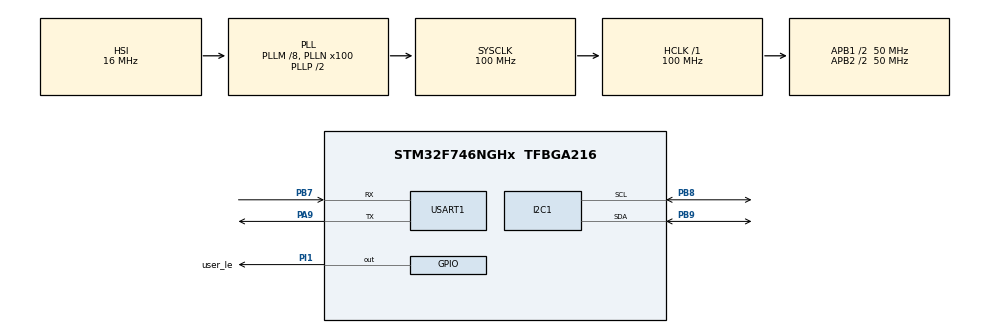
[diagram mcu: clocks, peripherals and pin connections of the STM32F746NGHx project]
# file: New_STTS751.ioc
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I2C1.Timing=0x00C0EAFF
Mcu.Family=STM32F7
Mcu.Name=STM32F746NGHx
Mcu.Package=TFBGA216
NVIC.PriorityGroup=NVIC_PRIORITYGROUP_4
PA13.Mode=Serial_Wire
PA13.Signal=SYS_JTMS-SWDIO
PA14.Mode=Serial_Wire
PA14.Signal=SYS_JTCK-SWCLK
PA9.Mode=Asynchronous
PA9.Signal=USART1_TX
PB7.Mode=Asynchronous
PB7.Signal=USART1_RX
PB8.Mode=I2C
PB8.Signal=I2C1_SCL
PB9.Mode=I2C
PB9.Signal=I2C1_SDA
PH0/OSC_IN.Mode=HSE-External-Oscillator
PH0/OSC_IN.Signal=RCC_OSC_IN
PH1/OSC_OUT.Mode=HSE-External-Oscillator
PH1/OSC_OUT.Signal=RCC_OSC_OUT
PI1.GPIO_Label=user_le
PI1.Signal=GPIO_Output
ProjectManager.HeapSize=0x200
ProjectManager.StackSize=0x400
ProjectManager.TargetToolchain=STM32CubeIDE
RCC.AHBFreq_Value=100000000
RCC.APB1CLKDivider=RCC_HCLK_DIV2
RCC.APB1Freq_Value=50000000
RCC.APB1TimFreq_Value=100000000
RCC.APB2CLKDivider=RCC_HCLK_DIV2
RCC.APB2Freq_Value=50000000
RCC.APB2TimFreq_Value=100000000
RCC.CortexFreq_Value=100000000
RCC.HCLKFreq_Value=100000000
RCC.HSE_VALUE=25000000
RCC.HSI_VALUE=16000000
RCC.LSE_VALUE=32768
RCC.PLLM=8
RCC.PLLN=100
RCC.PLLSourceVirtual=RCC_PLLSOURCE_HSI
RCC.SYSCLKFreq_VALUE=100000000
RCC.SYSCLKSource=RCC_SYSCLKSOURCE_PLLCLK
RCC.USBFreq_Value=100000000
RCC.VCOOutputFreq_Value=200000000
USART1.VirtualMode-Asynchronous=VM_ASYNC
board=STM32F746G-DISCO

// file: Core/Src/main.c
/* USER CODE BEGIN Header */
/**
  ******************************************************************************
  * @file           : main.c
  * @brief          : Main program body
  ******************************************************************************
  * @attention
  *
  * Copyright (c) 2024 STMicroelectronics.
  * All rights reserved.
  *
  * This software is licensed under terms that can be found in the LICENSE file
  * in the root directory of this software component.
  * If no LICENSE file comes with this software, it is provided AS-IS.
  *
  ******************************************************************************
  */
/* USER CODE END Header */
#include "main.h"
#include "i2c.h"
#include "usart.h"
#include "gpio.h"

/* USER CODE BEGIN Includes */
#include "stdio.h"
#include "lis2dw12_reg.h"
#include "stm32f7xx_hal.h"
#include <string.h>
/* USER CODE END Includes */

/* USER CODE BEGIN PD */
#define SENSOR_BUS hi2c1
/* USER CODE END PD */

/* USER CODE BEGIN PV */
static int16_t data_raw_acceleration[3];
static float acceleration_mg[3];
static uint8_t whoamI, rst;
static uint8_t tx_buffer[1000];

extern UART_HandleTypeDef huart1;
/* USER CODE END PV */

void SystemClock_Config(void);
/* USER CODE BEGIN PFP */
static int32_t platform_write(void *handle, uint8_t reg, const uint8_t *bufp,
                              uint16_t len);
static int32_t platform_read(void *handle, uint8_t reg, uint8_t *bufp,
                             uint16_t len);
static void platform_delay(uint32_t ms);
/* USER CODE END PFP */

int main(void)
{

  /* USER CODE BEGIN 1 */
	  /* Initialize mems driver interface */
	  stmdev_ctx_t dev_ctx;
	  dev_ctx.write_reg = platform_write;
	  dev_ctx.read_reg = platform_read;
	  dev_ctx.mdelay = platform_delay;
	  dev_ctx.handle = &SENSOR_BUS;

  /* USER CODE END 1 */

  /* MCU Configuration--------------------------------------------------------*/

  /* Reset of all peripherals, Initializes the Flash interface and the Systick. */
  HAL_Init();

  /* Configure the system clock */
  SystemClock_Config();

  /* Initialize all configured peripherals */
  MX_GPIO_Init();
  MX_I2C1_Init();
  MX_USART1_UART_Init();
  /* USER CODE BEGIN 2 */
  /* Initialize platform specific hardware */

  /* Check device ID */
  /* Initialize platform specific hardware */

  /* Wait sensor boot time */
  platform_delay(250);
  /* Check device ID */
  lis2dw12_device_id_get(&dev_ctx, &whoamI);

  if (whoamI != LIS2DW12_ID)
    while (1) {
      /* manage here device not found */
    }

  /* Restore default configuration */
  lis2dw12_reset_set(&dev_ctx, PROPERTY_ENABLE);

  do {
    lis2dw12_reset_get(&dev_ctx, &rst);
  } while (rst);

  lis2dw12_block_data_update_set(&dev_ctx, PROPERTY_ENABLE);
    /* Set full scale */
    //lis2dw12_full_scale_set(&dev_ctx, LIS2DW12_8g);
    lis2dw12_full_scale_set(&dev_ctx, LIS2DW12_2g);
    /* Configure filtering chain
     * Accelerometer - filter path / bandwidth
     */
    lis2dw12_filter_path_set(&dev_ctx, LIS2DW12_LPF_ON_OUT);
    lis2dw12_filter_bandwidth_set(&dev_ctx, LIS2DW12_ODR_DIV_4);
    /* Configure power mode */
    lis2dw12_power_mode_set(&dev_ctx, LIS2DW12_HIGH_PERFORMANCE);
    //lis2dw12_power_mode_set(&dev_ctx, LIS2DW12_CONT_LOW_PWR_LOW_NOISE_12bit);
    /* Set Output Data Rate */
    lis2dw12_data_rate_set(&dev_ctx, LIS2DW12_XL_ODR_25Hz);

  /* USER CODE END 2 */

  /* Infinite loop */
  /* USER CODE BEGIN WHILE */
    char chaine[250];
  HAL_GPIO_WritePin(user_le_GPIO_Port, user_le_Pin, GPIO_PIN_RESET);
  printf("Projet Lancé\r\n");
  while (1)
  {
    /* USER CODE END WHILE */

    /* USER CODE BEGIN 3 */
	  uint8_t reg;
	      /* Read output only if new value is available */
	      lis2dw12_flag_data_ready_get(&dev_ctx, &reg);

	      if (reg) {
	        /* Read acceleration data */
	        memset(data_raw_acceleration, 0x00, 3 * sizeof(int16_t));
	        lis2dw12_acceleration_raw_get(&dev_ctx, data_raw_acceleration);
	        //acceleration_mg[0] = lis2dw12_from_fs8_lp1_to_mg(data_raw_acceleration[0]);
	        //acceleration_mg[1] = lis2dw12_from_fs8_lp1_to_mg(data_raw_acceleration[1]);
	        //acceleration_mg[2] = lis2dw12_from_fs8_lp1_to_mg(data_raw_acceleration[2]);
	        acceleration_mg[0] = lis2dw12_from_fs2_to_mg(
	                               data_raw_acceleration[0]);
	        acceleration_mg[1] = lis2dw12_from_fs2_to_mg(
	                               data_raw_acceleration[1]);
	        acceleration_mg[2] = lis2dw12_from_fs2_to_mg(
	                               data_raw_acceleration[2]);
	        snprintf((char *)tx_buffer, sizeof(tx_buffer),
	                "Acceleration [mg]:%4.2f\t%4.2f\t%4.2f\r\n",
	                acceleration_mg[0], acceleration_mg[1], acceleration_mg[2]);
	        printf(tx_buffer);
	        HAL_GPIO_TogglePin(user_le_GPIO_Port, user_le_Pin);
	      }
  }
  /* USER CODE END 3 */
}

void SystemClock_Config(void)
{
  RCC_OscInitTypeDef RCC_OscInitStruct = {0};
  RCC_ClkInitTypeDef RCC_ClkInitStruct = {0};

  /** Configure the main internal regulator output voltage
  */
  __HAL_RCC_PWR_CLK_ENABLE();
  __HAL_PWR_VOLTAGESCALING_CONFIG(PWR_REGULATOR_VOLTAGE_SCALE3);

  /** Initializes the RCC Oscillators according to the specified parameters
  * in the RCC_OscInitTypeDef structure.
  */
  RCC_OscInitStruct.OscillatorType = RCC_OSCILLATORTYPE_HSI;
  RCC_OscInitStruct.HSIState = RCC_HSI_ON;
  RCC_OscInitStruct.HSICalibrationValue = RCC_HSICALIBRATION_DEFAULT;
  RCC_OscInitStruct.PLL.PLLState = RCC_PLL_ON;
  RCC_OscInitStruct.PLL.PLLSource = RCC_PLLSOURCE_HSI;
  RCC_OscInitStruct.PLL.PLLM = 8;
  RCC_OscInitStruct.PLL.PLLN = 100;
  RCC_OscInitStruct.PLL.PLLP = RCC_PLLP_DIV2;
  RCC_OscInitStruct.PLL.PLLQ = 2;
  if (HAL_RCC_OscConfig(&RCC_OscInitStruct) != HAL_OK)
  {
    Error_Handler();
  }

  /** Activate the Over-Drive mode
  */
  if (HAL_PWREx_EnableOverDrive() != HAL_OK)
  {
    Error_Handler();
  }

  /** Initializes the CPU, AHB and APB buses clocks
  */
  RCC_ClkInitStruct.ClockType = RCC_CLOCKTYPE_HCLK|RCC_CLOCKTYPE_SYSCLK
                              |RCC_CLOCKTYPE_PCLK1|RCC_CLOCKTYPE_PCLK2;
  RCC_ClkInitStruct.SYSCLKSource = RCC_SYSCLKSOURCE_PLLCLK;
  RCC_ClkInitStruct.AHBCLKDivider = RCC_SYSCLK_DIV1;
  RCC_ClkInitStruct.APB1CLKDivider = RCC_HCLK_DIV2;
  RCC_ClkInitStruct.APB2CLKDivider = RCC_HCLK_DIV2;

  if (HAL_RCC_ClockConfig(&RCC_ClkInitStruct, FLASH_LATENCY_3) != HAL_OK)
  {
    Error_Handler();
  }
}

/* USER CODE BEGIN 4 */
static int32_t platform_write(void *handle, uint8_t reg, const uint8_t *bufp,
                              uint16_t len)
{
  HAL_I2C_Mem_Write(handle, LIS2DW12_I2C_ADD_H, reg,
                    I2C_MEMADD_SIZE_8BIT, (uint8_t*) bufp, len, 1000);

  return 0;
}

/*
 * @brief  Read generic device register (platform dependent)
 *
 * @param  handle    customizable argument. In this examples is used in
 *                   order to select the correct sensor bus handler.
 * @param  reg       register to read
 * @param  bufp      pointer to buffer that store the data read
 * @param  len       number of consecutive register to read
 *
 */
static int32_t platform_read(void *handle, uint8_t reg, uint8_t *bufp,
                             uint16_t len)
{

  HAL_I2C_Mem_Read(handle, LIS2DW12_I2C_ADD_H, reg,
                   I2C_MEMADD_SIZE_8BIT, bufp, len, 1000);

  return 0;
}
/*
 * @brief  platform specific delay (platform dependent)
 *
 * @param  ms        delay in ms
 *
 */
/*
 * @brief  platform specific delay (platform dependent)
 *
 * @param  ms        delay in ms
 *
 */
static void platform_delay(uint32_t ms)
{
HAL_Delay(ms);
}
///////////////////////////////////////////////////////////////////////
int __io_putchar(int ch) {
    HAL_UART_Transmit(&huart1, (uint8_t *)&ch, 1, HAL_MAX_DELAY);  // pour pouvoir afficher les print dans putty
    return ch;
}
////////////////////////////////////////////////////////////////////
/* USER CODE END 4 */

void Error_Handler(void)
{
  __disable_irq();
  while (1)
  {
  }
}
